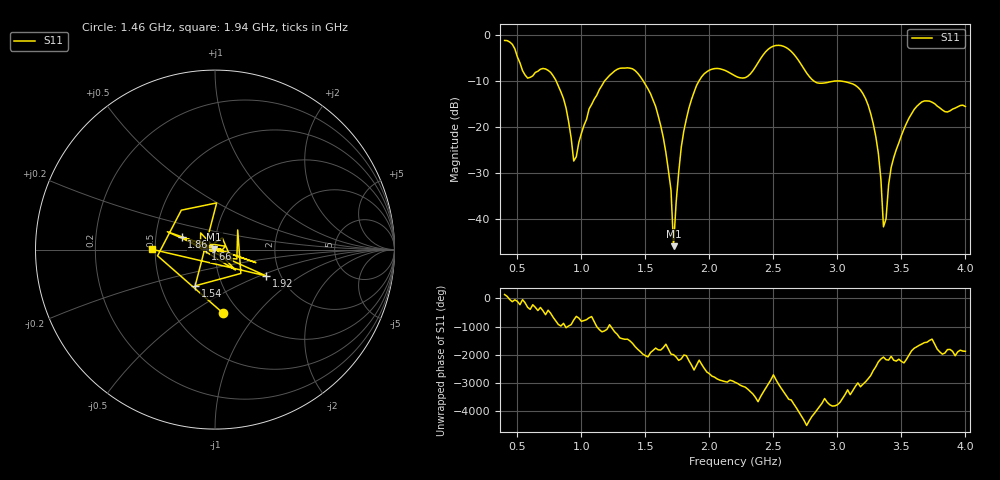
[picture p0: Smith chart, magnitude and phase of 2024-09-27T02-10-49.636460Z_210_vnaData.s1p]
!Created with skrf (http://scikit-rf.org).
# Hz S RI R 50.0
!freq ReS11 ImS11
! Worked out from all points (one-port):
!   181 points, 400 MHz to 4 GHz, reference 50 ohm
!   lowest |S11| = -45.8 dB at 1.72 GHz (marker M1), VSWR 1.01, Z = 49.5 + j0.108 ohm
!   |S11| at or under -10 dB: 802.8 MHz to 1.18 GHz (377.6 MHz wide, 38.1 % of centre); 1.483 GHz to 1.919 GHz (435.2 MHz wide, 25.6 % of centre); 3.026 GHz to end of sweep (the widest 3 of 4)
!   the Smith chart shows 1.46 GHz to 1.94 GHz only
!   S11 on the Smith chart (normalised r, x): 1.46 GHz: 0.84, -0.68; 1.54 GHz: 0.74, -0.32; 1.66 GHz: 0.90, +0.00; 1.86 GHz: 0.68, +0.10; 1.92 GHz: 1.68, -0.55; 1.94 GHz: 0.48, +0.00
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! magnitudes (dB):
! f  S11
! 400 MHz  -1.2
! 580 MHz  -9.4
! 740 MHz  -7.7
! 860 MHz  -13.8
! 940 MHz  -27.4
! 1.06 GHz  -16.1
! 1.3 GHz  -7.2
! 1.46 GHz  -9.0
! 1.54 GHz  -12.8
! 1.66 GHz  -25.5
! 1.7 GHz  -33.7
! 1.72 GHz  -45.8
! 1.76 GHz  -29.8
! 1.86 GHz  -14.0
! 1.92 GHz  -9.9
! 1.94 GHz  -9.1
! 2.2 GHz  -8.9
! 2.5 GHz  -2.4
! 2.66 GHz  -4.2
! 2.84 GHz  -10.4
! 3.1 GHz  -10.5
! 3.28 GHz  -19.3
! 3.32 GHz  -25.7
! 3.36 GHz  -41.7
! 3.42 GHz  -28.8
! 3.56 GHz  -18.0
! 3.68 GHz  -14.3
! 4 GHz  -15.5
